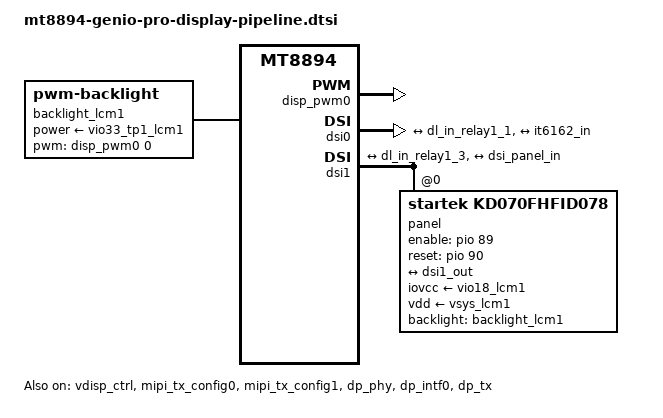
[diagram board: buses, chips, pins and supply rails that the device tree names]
// SPDX-License-Identifier: GPL-2.0 OR MIT
/*
 * Copyright (C) 2026 Collabora Ltd.
 *
 * This is a temporary DTSI for display bringup. The pipelines
 * will be added to the Genio Pro common DT whenever this is ready
 * for prime time.
 *
 * *** Include this at the end of the Genio Pro DTS ***
 */

/ {
	backlight_lcm1: backlight-lcm1 {
		compatible = "pwm-backlight";
		brightness-levels = <0 1023>;
		default-brightness-level = <576>;
		num-interpolated-steps = <1023>;
		power-supply = <&vio33_tp1_lcm1>;
		pwms = <&disp_pwm0 0 500000>;
	};
};

&gce0 {
	status = "disabled";
};

&gce1 {
	status = "disabled";
};

&vdisp_ctrl {
	status = "okay";
};

&mipi_tx_config0 {
	drive-strength-microamp = <5600>;
	status = "okay";
};

&mipi_tx_config1 {
	status = "okay";
};

/*
 * DSI0 on dispsys lane 1, with the picture-quality blocks bypassed.
 *
 * dispsys0's local segment for this lane normally runs the PQ chain
 * (dl_in_relay0_0 -> rsz0).  Point it at its own DL_OUT instead, exactly as
 * lane 3 does, so the walker resolves a pass-through with no blocks in
 * between; the matching DIRECT_LINK_IN 0 -> DIRECT_LINK_OUT 1 route already
 * exists in mt8196-mmsys.h.  This is the one configuration not yet tried:
 * lane 1 with the full PQ chain stalls at postmask0, and the reference board's
 * negative result for this route came from poking a live pipeline, which a
 * stalled DL async FIFO cannot recover from either way.
 *
 * The DSI0 tail is unchanged - SPLITTER_OUT_CB9 -> COMP_OUT_CB6 ->
 * MERGE_OUT_CB0 -> disp_dsi0_in0, the only DSI0 input that reports ready.
 */
&dl_in_relay0_0 {
	remote-endpoint = <&dl_out_relay0_1>;
};

&dl_out_relay0_1 {
	remote-endpoint = <&dl_in_relay0_0>;
};

&dl_out_async0_1 {
	remote-endpoint = <&dl_in_async1_1>;
};

&dl_in_async1_1 {
	remote-endpoint = <&dl_out_async0_1>;
};

&dl_in_relay0_2 {
	remote-endpoint = <&dl_out_relay0_3>;
};

&dl_out_relay0_3 {
	remote-endpoint = <&dl_in_relay0_2>;
};

&dl_in_relay0_1 {
	remote-endpoint = <&dl_out_relay0_2>;
};

&dl_out_relay0_2 {
	remote-endpoint = <&dl_in_relay0_1>;
};

&dl_in_async1_2 {
	remote-endpoint = <&dl_out_async0_2>;
};

&dl_out_async0_2 {
	remote-endpoint = <&dl_in_async1_2>;
};

/* Final outputs on DISPSYS1 */
&dl_in_relay1_1 {
	remote-endpoint = <&dsi0_in>;
};

&dl_in_relay1_2 {
	remote-endpoint = <&dp_intf0_in>;
};

&dl_in_relay1_3 {
	remote-endpoint = <&dsi1_in>;
};

/* Remove OVL's DLO6 for now */
&ovl_dl_out_async1_6 {
	/delete-property/ remote-endpoint;
};

/*
 * The PQ chain is out of the path, so remove both of its edges on the
 * direct-link node.  Leaving the DL_OUT_RELAY pointing at dither0 makes the
 * walker follow the PQ exit and fail with -ELOOP ("Last component: 7-0"):
 * the lane then has two descriptions of its local segment.  Lane 3, which
 * works, has no DL_OUT_RELAY endpoint at all - only the DL_IN_RELAY
 * self-reference.
 */
&rsz0_in {
	/delete-property/ remote-endpoint;
};

&dither0_out {
	/delete-property/ remote-endpoint;
};

/* eDP DVO */
&dvo0_in {
	/delete-property/ remote-endpoint;
};

/* DSI1 PWM for Backlight */
&disp_pwm0 {
	pinctrl-names = "default";
	pinctrl-0 = <&disp_pwm0_pins>;
	status = "okay";
};

&it6162_in {
	remote-endpoint = <&dsi0_out>;
};

&dsi0 {
	status = "okay";

	ports {
		#address-cells = <1>;
		#size-cells = <0>;

		port@0 {
			#address-cells = <1>;
			#size-cells = <0>;
			reg = <0>;

			dsi0_in: endpoint@0 {
				reg = <0>;
				remote-endpoint = <&dl_in_relay1_1>;
			};
		};

		port@1 {
			reg = <1>;

			dsi0_out: endpoint {
				remote-endpoint = <&it6162_in>;
			};
		};
	};
};

&dsi1 {
	#address-cells = <1>;
	#size-cells = <0>;
	status = "okay";

	panel@0 {
		compatible = "startek,kd070fhfid078", "himax,hx8279";
		reg = <0>;
		backlight = <&backlight_lcm1>;
		enable-gpios = <&pio 89 GPIO_ACTIVE_HIGH>;
		reset-gpios = <&pio 90 GPIO_ACTIVE_HIGH>;
		iovcc-supply = <&vio18_lcm1>;
		vdd-supply = <&vsys_lcm1>;
		pinctrl-names = "default";
		pinctrl-0 = <&lcm1_default_pins>;

		port {
			dsi_panel_in: endpoint {
				remote-endpoint = <&dsi1_out>;
			};
		};
	};

	ports {
		#address-cells = <1>;
		#size-cells = <0>;

		port@0 {
			#address-cells = <1>;
			#size-cells = <0>;
			reg = <0>;

			dsi1_in: endpoint@1 {
				reg = <1>;
				remote-endpoint = <&dl_in_relay1_3>;
			};
		};

		/*
		 * mtk_dsi_host_attach() resolves its next bridge from
		 * port@1/endpoint@0, so the IT6162 must be reachable here.
		 */
		port@1 {
			reg = <1>;

			dsi1_out: endpoint {
				remote-endpoint = <&dsi_panel_in>;
			};
		};
	};
};

&dp_phy {
	status = "okay";
};

&dp_intf0 {
	status = "okay";

	ports {
		#address-cells = <1>;
		#size-cells = <0>;

		port@0 {
			#address-cells = <1>;
			#size-cells = <0>;
			reg = <0>;

			dp_intf0_in: endpoint@0 {
				reg = <0>;
				remote-endpoint = <&dl_in_relay1_2>;
			};
		};

		port@1 {
			#address-cells = <1>;
			#size-cells = <0>;
			reg = <1>;

			dp_intf0_out: endpoint@1 {
				reg = <1>;
				remote-endpoint = <&dptx_in0>;
			};
		};
	};
};

&dp_tx {
	status = "okay";
	#sound-dai-cells = <0>;

	ports {
		#address-cells = <1>;
		#size-cells = <0>;

		port@0 {
			#address-cells = <1>;
			#size-cells = <0>;
			reg = <0>;

			dptx_in0: endpoint@0 {
				reg = <0>;
				remote-endpoint = <&dp_intf0_out>;
			};
		};

		port@1 {
			reg = <1>;
			dptx_out0: endpoint {
				data-lanes = <0 1>;
			};
		};
	};
};

&pio {
	disp_pwm0_pins: disp-pwm0-pins {
		pins-pwm {
			pinmux = <PINMUX_GPIO103__FUNC_DISP_PWM>;
		};
	};

	lcm1_default_pins: lcm1-pins {
		pins-rst {
			pinmux = <PINMUX_GPIO90__FUNC_GPIO90>;
			drive-strength = <8>;
			output-low;
		};

		pins-en {
			pinmux = <PINMUX_GPIO89__FUNC_GPIO89>;
			drive-strength = <8>;
			bias-pull-up;
			output-low;
		};
	};
};
